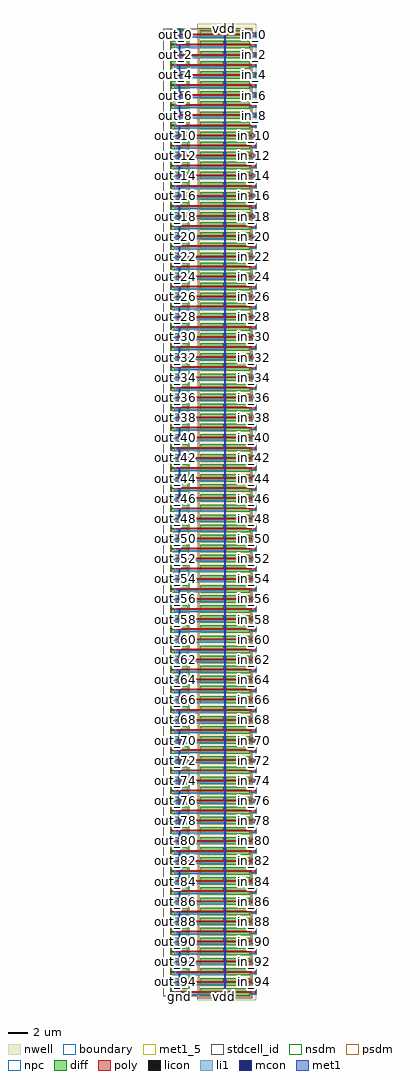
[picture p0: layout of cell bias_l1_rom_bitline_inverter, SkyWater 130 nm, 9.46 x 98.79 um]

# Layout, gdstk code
from math import pi, radians
import gdstk
lib = gdstk.Library(unit=1e-6, precision=1e-09)
def R(c, l, rs):  # rectangles x0, y0, x1, y1
    for r in rs: c.add(gdstk.rectangle(r[:2], r[2:], *l))
def A(c, l, x, y, w, h, nx, ny, dx, dy):  # array of equal rectangles
    R(c, l, [(x+i*dx, y+j*dy, x+i*dx+w, y+j*dy+h) for i in range(nx) for j in range(ny)])
nwell = (64, 20)
diff = (65, 20)
poly = (66, 20)
licon = (66, 44)
li1 = (67, 20)
mcon = (67, 44)
met1_5 = (68, 5)
met1 = (68, 20)
stdcell_id = (81, 4)
nsdm = (93, 44)
psdm = (94, 20)
npc = (95, 20)
boundary = (235, 4)

bias_l1_contact_10 = lib.new_cell('bias_l1_contact_10')
R(bias_l1_contact_10, nwell, [(-0.295,-0.255,0.545,0.585)])
R(bias_l1_contact_10, diff, [(0,0.02,0.25,0.31)])
R(bias_l1_contact_10, licon, [(0.04,0.08,0.21,0.25)])
R(bias_l1_contact_10, li1, [(0.04,0,0.21,0.33)])
R(bias_l1_contact_10, stdcell_id, [(-0.295,-0.255,0.545,0.585)])
R(bias_l1_contact_10, psdm, [(-0.125,-0.105,0.375,0.435)])
R(bias_l1_contact_10, boundary, [(-0.295,-0.255,0.545,0.585)])

bias_l1_pmos_m1_w5_000_s = lib.new_cell('bias_l1_pmos_m1_w5_000_sli_dli_da_p')
R(bias_l1_pmos_m1_w5_000_s, nwell, [(-0.27,-0.27,1.02,5.27)])
R(bias_l1_pmos_m1_w5_000_s, diff, [(0,0,0.75,5)])
R(bias_l1_pmos_m1_w5_000_s, poly, [(0.3,-0.13,0.45,5.13), (0.3,-0.13,0.45,5.13)])
R(bias_l1_pmos_m1_w5_000_s, li1, [(0.04,2.335,0.21,2.665), (0.54,2.335,0.71,2.665)])
R(bias_l1_pmos_m1_w5_000_s, stdcell_id, [(-0.27,-0.27,1.02,5.27)])
R(bias_l1_pmos_m1_w5_000_s, psdm, [(-0.125,-0.125,0.875,5.125)])
R(bias_l1_pmos_m1_w5_000_s, boundary, [(-0.27,-0.27,1.02,5.27)])
bias_l1_pmos_m1_w5_000_s.add(gdstk.Reference(bias_l1_contact_10, (0,2.335)))
bias_l1_pmos_m1_w5_000_s.add(gdstk.Reference(bias_l1_contact_10, (0.5,2.335)))
bias_l1_pmos_m1_w5_000_s.add(gdstk.Label('G', (0.375,2.5), layer=66, texttype=5))
bias_l1_pmos_m1_w5_000_s.add(gdstk.Label('S', (0.125,2.5), layer=67, texttype=5))
bias_l1_pmos_m1_w5_000_s.add(gdstk.Label('D', (0.625,2.5), layer=67, texttype=5))

bias_l1_contact_8 = lib.new_cell('bias_l1_contact_8')
R(bias_l1_contact_8, diff, [(0,0.02,0.25,0.31)])
R(bias_l1_contact_8, licon, [(0.04,0.08,0.21,0.25)])
R(bias_l1_contact_8, li1, [(0.04,0,0.21,0.33)])
R(bias_l1_contact_8, stdcell_id, [(-0.125,-0.105,0.375,0.435)])
R(bias_l1_contact_8, nsdm, [(-0.125,-0.105,0.375,0.435)])
R(bias_l1_contact_8, boundary, [(-0.125,-0.105,0.375,0.435)])

bias_l1_nmos_m1_w1_680_s = lib.new_cell('bias_l1_nmos_m1_w1_680_sli_dli_da_p')
R(bias_l1_nmos_m1_w1_680_s, diff, [(0,0,0.75,1.68)])
R(bias_l1_nmos_m1_w1_680_s, poly, [(0.3,-0.13,0.45,1.81), (0.3,-0.13,0.45,1.81)])
R(bias_l1_nmos_m1_w1_680_s, li1, [(0.04,0.675,0.21,1.005), (0.54,0.675,0.71,1.005)])
R(bias_l1_nmos_m1_w1_680_s, stdcell_id, [(-0.125,-0.13,0.875,1.81)])
R(bias_l1_nmos_m1_w1_680_s, nsdm, [(-0.125,-0.125,0.875,1.805)])
R(bias_l1_nmos_m1_w1_680_s, boundary, [(-0.125,-0.13,0.875,1.81)])
bias_l1_nmos_m1_w1_680_s.add(gdstk.Reference(bias_l1_contact_8, (0,0.675)))
bias_l1_nmos_m1_w1_680_s.add(gdstk.Reference(bias_l1_contact_8, (0.5,0.675)))
bias_l1_nmos_m1_w1_680_s.add(gdstk.Label('G', (0.375,0.84), layer=66, texttype=5))
bias_l1_nmos_m1_w1_680_s.add(gdstk.Label('S', (0.125,0.84), layer=67, texttype=5))
bias_l1_nmos_m1_w1_680_s.add(gdstk.Label('D', (0.625,0.84), layer=67, texttype=5))

bias_l1_contact_11 = lib.new_cell('bias_l1_contact_11')
R(bias_l1_contact_11, poly, [(0,0,0.33,0.33)])
R(bias_l1_contact_11, licon, [(0.08,0.08,0.25,0.25)])
R(bias_l1_contact_11, li1, [(0.08,0,0.25,0.33)])
R(bias_l1_contact_11, stdcell_id, [(-0.1,-0.1,0.43,0.43)])
R(bias_l1_contact_11, npc, [(-0.1,-0.1,0.43,0.43)])
R(bias_l1_contact_11, boundary, [(-0.1,-0.1,0.43,0.43)])

bias_l1_contact_12 = lib.new_cell('bias_l1_contact_12')
R(bias_l1_contact_12, li1, [(0.06,0,0.23,0.33)])
R(bias_l1_contact_12, mcon, [(0.06,0.08,0.23,0.25)])
R(bias_l1_contact_12, met1, [(0,0.05,0.29,0.28)])
R(bias_l1_contact_12, stdcell_id, [(0,0,0.29,0.33)])
R(bias_l1_contact_12, boundary, [(0,0,0.29,0.33)])

bias_l1_pinv_dec_3 = lib.new_cell('bias_l1_pinv_dec_3')
R(bias_l1_pinv_dec_3, nwell, [(3.46,-0.395,9.395,1.495)])
R(bias_l1_pinv_dec_3, poly, [(0.68,0.345,9.19,0.495), (2.62,0.345,3.6,0.495)])
R(bias_l1_pinv_dec_3, li1, [(1.485,0.085,6.23,0.255), (9.105,0.255,9.275,0.585)])
R(bias_l1_pinv_dec_3, met1_5, [(1.58,0,1.72,1.02), (6.16,0,6.3,1.02)])
R(bias_l1_pinv_dec_3, met1, [(1.58,0,1.72,1.02), (6.16,0,6.3,1.02)])
R(bias_l1_pinv_dec_3, stdcell_id, [(0,0,8.91,1.02), (0,0,8.91,1.02)])
R(bias_l1_pinv_dec_3, nsdm, [(0.685,0,2.615,0.795)])
R(bias_l1_pinv_dec_3, psdm, [(3.605,0,8.855,0.795)])
R(bias_l1_pinv_dec_3, boundary, [(0,0,8.91,1.02), (0,0,8.91,1.02)])
bias_l1_pinv_dec_3.add(gdstk.Reference(bias_l1_pmos_m1_w5_000_s, (3.73,0.795), rotation=3*pi/2))
bias_l1_pinv_dec_3.add(gdstk.Reference(bias_l1_nmos_m1_w1_680_s, (0.81,0.795), rotation=3*pi/2))
bias_l1_pinv_dec_3.add(gdstk.Reference(bias_l1_contact_11, (9.025,0.255)))
bias_l1_pinv_dec_3.add(gdstk.Reference(bias_l1_contact_12, (1.505,0.505)))
bias_l1_pinv_dec_3.add(gdstk.Reference(bias_l1_contact_12, (6.085,0.505)))
bias_l1_pinv_dec_3.add(gdstk.Label('A', (9.19,0.42), layer=67, texttype=5))
bias_l1_pinv_dec_3.add(gdstk.Label('Z', (3.858,0.17), layer=67, texttype=5))
bias_l1_pinv_dec_3.add(gdstk.Label('gnd', (1.65,0.51), layer=68, texttype=5))
bias_l1_pinv_dec_3.add(gdstk.Label('vdd', (6.23,0.51), layer=68, texttype=5))

bias_l1_rom_bitline_inve = lib.new_cell('bias_l1_rom_bitline_inverter')
A(bias_l1_rom_bitline_inve, li1, 1.13, 0.085, 0.355, 0.17, 1, 96, 0, 1.02)
A(bias_l1_rom_bitline_inve, li1, 1.13, 0.17, 0.17, 0.335, 1, 96, 0, 1.02)
A(bias_l1_rom_bitline_inve, li1, 9.105, 0.255, 0.17, 0.33, 1, 96, 0, 1.02)
A(bias_l1_rom_bitline_inve, li1, 1.13, 0.335, 0.17, 0.17, 1, 96, 0, 1.02)
R(bias_l1_rom_bitline_inve, met1_5, [(1.58,-0.07,1.72,0.07), (6.16,-0.07,6.3,0.07), (1.58,97.85,1.72,97.99), (6.16,97.85,6.3,97.99)])
A(bias_l1_rom_bitline_inve, met1, 1.58, 0.44, 0.14, 0.14, 1, 96, 0, 1.02)
A(bias_l1_rom_bitline_inve, met1, 6.16, 0.44, 0.14, 0.14, 1, 96, 0, 1.02)
R(bias_l1_rom_bitline_inve, met1, [(1.58,-0.07,1.72,0.07), (1.58,-0.07,1.72,97.99), (6.16,-0.07,6.3,0.07), (6.16,-0.07,6.3,97.99), (1.58,97.85,1.72,97.99), (6.16,97.85,6.3,97.99)])
R(bias_l1_rom_bitline_inve, stdcell_id, [(0,0,8.91,97.92)])
R(bias_l1_rom_bitline_inve, boundary, [(0,0,8.91,97.92)])
bias_l1_rom_bitline_inve.add(gdstk.Reference(bias_l1_pinv_dec_3, (0,0)))
bias_l1_rom_bitline_inve.add(gdstk.Reference(bias_l1_pinv_dec_3, (0,1.02)))
bias_l1_rom_bitline_inve.add(gdstk.Reference(bias_l1_pinv_dec_3, (0,2.04)))
bias_l1_rom_bitline_inve.add(gdstk.Reference(bias_l1_pinv_dec_3, (0,3.06)))
bias_l1_rom_bitline_inve.add(gdstk.Reference(bias_l1_pinv_dec_3, (0,4.08)))
bias_l1_rom_bitline_inve.add(gdstk.Reference(bias_l1_pinv_dec_3, (0,5.1)))
bias_l1_rom_bitline_inve.add(gdstk.Reference(bias_l1_pinv_dec_3, (0,6.12)))
bias_l1_rom_bitline_inve.add(gdstk.Reference(bias_l1_pinv_dec_3, (0,7.14)))
bias_l1_rom_bitline_inve.add(gdstk.Reference(bias_l1_pinv_dec_3, (0,8.16)))
bias_l1_rom_bitline_inve.add(gdstk.Reference(bias_l1_pinv_dec_3, (0,9.18)))
bias_l1_rom_bitline_inve.add(gdstk.Reference(bias_l1_pinv_dec_3, (0,10.2)))
bias_l1_rom_bitline_inve.add(gdstk.Reference(bias_l1_pinv_dec_3, (0,11.22)))
bias_l1_rom_bitline_inve.add(gdstk.Reference(bias_l1_pinv_dec_3, (0,12.24)))
bias_l1_rom_bitline_inve.add(gdstk.Reference(bias_l1_pinv_dec_3, (0,13.26)))
bias_l1_rom_bitline_inve.add(gdstk.Reference(bias_l1_pinv_dec_3, (0,14.28)))
bias_l1_rom_bitline_inve.add(gdstk.Reference(bias_l1_pinv_dec_3, (0,15.3)))
bias_l1_rom_bitline_inve.add(gdstk.Reference(bias_l1_pinv_dec_3, (0,16.32)))
bias_l1_rom_bitline_inve.add(gdstk.Reference(bias_l1_pinv_dec_3, (0,17.34)))
bias_l1_rom_bitline_inve.add(gdstk.Reference(bias_l1_pinv_dec_3, (0,18.36)))
bias_l1_rom_bitline_inve.add(gdstk.Reference(bias_l1_pinv_dec_3, (0,19.38)))
bias_l1_rom_bitline_inve.add(gdstk.Reference(bias_l1_pinv_dec_3, (0,20.4)))
bias_l1_rom_bitline_inve.add(gdstk.Reference(bias_l1_pinv_dec_3, (0,21.42)))
bias_l1_rom_bitline_inve.add(gdstk.Reference(bias_l1_pinv_dec_3, (0,22.44)))
bias_l1_rom_bitline_inve.add(gdstk.Reference(bias_l1_pinv_dec_3, (0,23.46)))
bias_l1_rom_bitline_inve.add(gdstk.Reference(bias_l1_pinv_dec_3, (0,24.48)))
bias_l1_rom_bitline_inve.add(gdstk.Reference(bias_l1_pinv_dec_3, (0,25.5)))
bias_l1_rom_bitline_inve.add(gdstk.Reference(bias_l1_pinv_dec_3, (0,26.52)))
bias_l1_rom_bitline_inve.add(gdstk.Reference(bias_l1_pinv_dec_3, (0,27.54)))
bias_l1_rom_bitline_inve.add(gdstk.Reference(bias_l1_pinv_dec_3, (0,28.56)))
bias_l1_rom_bitline_inve.add(gdstk.Reference(bias_l1_pinv_dec_3, (0,29.58)))
bias_l1_rom_bitline_inve.add(gdstk.Reference(bias_l1_pinv_dec_3, (0,30.6)))
bias_l1_rom_bitline_inve.add(gdstk.Reference(bias_l1_pinv_dec_3, (0,31.62)))
bias_l1_rom_bitline_inve.add(gdstk.Reference(bias_l1_pinv_dec_3, (0,32.64)))
bias_l1_rom_bitline_inve.add(gdstk.Reference(bias_l1_pinv_dec_3, (0,33.66)))
bias_l1_rom_bitline_inve.add(gdstk.Reference(bias_l1_pinv_dec_3, (0,34.68)))
bias_l1_rom_bitline_inve.add(gdstk.Reference(bias_l1_pinv_dec_3, (0,35.7)))
bias_l1_rom_bitline_inve.add(gdstk.Reference(bias_l1_pinv_dec_3, (0,36.72)))
bias_l1_rom_bitline_inve.add(gdstk.Reference(bias_l1_pinv_dec_3, (0,37.74)))
bias_l1_rom_bitline_inve.add(gdstk.Reference(bias_l1_pinv_dec_3, (0,38.76)))
bias_l1_rom_bitline_inve.add(gdstk.Reference(bias_l1_pinv_dec_3, (0,39.78)))
bias_l1_rom_bitline_inve.add(gdstk.Reference(bias_l1_pinv_dec_3, (0,40.8)))
bias_l1_rom_bitline_inve.add(gdstk.Reference(bias_l1_pinv_dec_3, (0,41.82)))
bias_l1_rom_bitline_inve.add(gdstk.Reference(bias_l1_pinv_dec_3, (0,42.84)))
bias_l1_rom_bitline_inve.add(gdstk.Reference(bias_l1_pinv_dec_3, (0,43.86)))
bias_l1_rom_bitline_inve.add(gdstk.Reference(bias_l1_pinv_dec_3, (0,44.88)))
bias_l1_rom_bitline_inve.add(gdstk.Reference(bias_l1_pinv_dec_3, (0,45.9)))
bias_l1_rom_bitline_inve.add(gdstk.Reference(bias_l1_pinv_dec_3, (0,46.92)))
bias_l1_rom_bitline_inve.add(gdstk.Reference(bias_l1_pinv_dec_3, (0,47.94)))
bias_l1_rom_bitline_inve.add(gdstk.Reference(bias_l1_pinv_dec_3, (0,48.96)))
bias_l1_rom_bitline_inve.add(gdstk.Reference(bias_l1_pinv_dec_3, (0,49.98)))
bias_l1_rom_bitline_inve.add(gdstk.Reference(bias_l1_pinv_dec_3, (0,51)))
bias_l1_rom_bitline_inve.add(gdstk.Reference(bias_l1_pinv_dec_3, (0,52.02)))
bias_l1_rom_bitline_inve.add(gdstk.Reference(bias_l1_pinv_dec_3, (0,53.04)))
bias_l1_rom_bitline_inve.add(gdstk.Reference(bias_l1_pinv_dec_3, (0,54.06)))
bias_l1_rom_bitline_inve.add(gdstk.Reference(bias_l1_pinv_dec_3, (0,55.08)))
bias_l1_rom_bitline_inve.add(gdstk.Reference(bias_l1_pinv_dec_3, (0,56.1)))
bias_l1_rom_bitline_inve.add(gdstk.Reference(bias_l1_pinv_dec_3, (0,57.12)))
bias_l1_rom_bitline_inve.add(gdstk.Reference(bias_l1_pinv_dec_3, (0,58.14)))
bias_l1_rom_bitline_inve.add(gdstk.Reference(bias_l1_pinv_dec_3, (0,59.16)))
bias_l1_rom_bitline_inve.add(gdstk.Reference(bias_l1_pinv_dec_3, (0,60.18)))
bias_l1_rom_bitline_inve.add(gdstk.Reference(bias_l1_pinv_dec_3, (0,61.2)))
bias_l1_rom_bitline_inve.add(gdstk.Reference(bias_l1_pinv_dec_3, (0,62.22)))
bias_l1_rom_bitline_inve.add(gdstk.Reference(bias_l1_pinv_dec_3, (0,63.24)))
bias_l1_rom_bitline_inve.add(gdstk.Reference(bias_l1_pinv_dec_3, (0,64.26)))
bias_l1_rom_bitline_inve.add(gdstk.Reference(bias_l1_pinv_dec_3, (0,65.28)))
bias_l1_rom_bitline_inve.add(gdstk.Reference(bias_l1_pinv_dec_3, (0,66.3)))
bias_l1_rom_bitline_inve.add(gdstk.Reference(bias_l1_pinv_dec_3, (0,67.32)))
bias_l1_rom_bitline_inve.add(gdstk.Reference(bias_l1_pinv_dec_3, (0,68.34)))
bias_l1_rom_bitline_inve.add(gdstk.Reference(bias_l1_pinv_dec_3, (0,69.36)))
bias_l1_rom_bitline_inve.add(gdstk.Reference(bias_l1_pinv_dec_3, (0,70.38)))
bias_l1_rom_bitline_inve.add(gdstk.Reference(bias_l1_pinv_dec_3, (0,71.4)))
bias_l1_rom_bitline_inve.add(gdstk.Reference(bias_l1_pinv_dec_3, (0,72.42)))
bias_l1_rom_bitline_inve.add(gdstk.Reference(bias_l1_pinv_dec_3, (0,73.44)))
bias_l1_rom_bitline_inve.add(gdstk.Reference(bias_l1_pinv_dec_3, (0,74.46)))
bias_l1_rom_bitline_inve.add(gdstk.Reference(bias_l1_pinv_dec_3, (0,75.48)))
bias_l1_rom_bitline_inve.add(gdstk.Reference(bias_l1_pinv_dec_3, (0,76.5)))
bias_l1_rom_bitline_inve.add(gdstk.Reference(bias_l1_pinv_dec_3, (0,77.52)))
bias_l1_rom_bitline_inve.add(gdstk.Reference(bias_l1_pinv_dec_3, (0,78.54)))
bias_l1_rom_bitline_inve.add(gdstk.Reference(bias_l1_pinv_dec_3, (0,79.56)))
bias_l1_rom_bitline_inve.add(gdstk.Reference(bias_l1_pinv_dec_3, (0,80.58)))
bias_l1_rom_bitline_inve.add(gdstk.Reference(bias_l1_pinv_dec_3, (0,81.6)))
bias_l1_rom_bitline_inve.add(gdstk.Reference(bias_l1_pinv_dec_3, (0,82.62)))
bias_l1_rom_bitline_inve.add(gdstk.Reference(bias_l1_pinv_dec_3, (0,83.64)))
bias_l1_rom_bitline_inve.add(gdstk.Reference(bias_l1_pinv_dec_3, (0,84.66)))
bias_l1_rom_bitline_inve.add(gdstk.Reference(bias_l1_pinv_dec_3, (0,85.68)))
bias_l1_rom_bitline_inve.add(gdstk.Reference(bias_l1_pinv_dec_3, (0,86.7)))
bias_l1_rom_bitline_inve.add(gdstk.Reference(bias_l1_pinv_dec_3, (0,87.72)))
bias_l1_rom_bitline_inve.add(gdstk.Reference(bias_l1_pinv_dec_3, (0,88.74)))
bias_l1_rom_bitline_inve.add(gdstk.Reference(bias_l1_pinv_dec_3, (0,89.76)))
bias_l1_rom_bitline_inve.add(gdstk.Reference(bias_l1_pinv_dec_3, (0,90.78)))
bias_l1_rom_bitline_inve.add(gdstk.Reference(bias_l1_pinv_dec_3, (0,91.8)))
bias_l1_rom_bitline_inve.add(gdstk.Reference(bias_l1_pinv_dec_3, (0,92.82)))
bias_l1_rom_bitline_inve.add(gdstk.Reference(bias_l1_pinv_dec_3, (0,93.84)))
bias_l1_rom_bitline_inve.add(gdstk.Reference(bias_l1_pinv_dec_3, (0,94.86)))
bias_l1_rom_bitline_inve.add(gdstk.Reference(bias_l1_pinv_dec_3, (0,95.88)))
bias_l1_rom_bitline_inve.add(gdstk.Reference(bias_l1_pinv_dec_3, (0,96.9)))
bias_l1_rom_bitline_inve.add(gdstk.Label('in_0', (9.19,97.32), layer=67, texttype=5))
bias_l1_rom_bitline_inve.add(gdstk.Label('out_0', (1.215,97.32), layer=67, texttype=5))
bias_l1_rom_bitline_inve.add(gdstk.Label('in_1', (9.19,96.3), layer=67, texttype=5))
bias_l1_rom_bitline_inve.add(gdstk.Label('out_1', (1.215,96.3), layer=67, texttype=5))
bias_l1_rom_bitline_inve.add(gdstk.Label('in_2', (9.19,95.28), layer=67, texttype=5))
bias_l1_rom_bitline_inve.add(gdstk.Label('out_2', (1.215,95.28), layer=67, texttype=5))
bias_l1_rom_bitline_inve.add(gdstk.Label('in_3', (9.19,94.26), layer=67, texttype=5))
bias_l1_rom_bitline_inve.add(gdstk.Label('out_3', (1.215,94.26), layer=67, texttype=5))
bias_l1_rom_bitline_inve.add(gdstk.Label('in_4', (9.19,93.24), layer=67, texttype=5))
bias_l1_rom_bitline_inve.add(gdstk.Label('out_4', (1.215,93.24), layer=67, texttype=5))
bias_l1_rom_bitline_inve.add(gdstk.Label('in_5', (9.19,92.22), layer=67, texttype=5))
bias_l1_rom_bitline_inve.add(gdstk.Label('out_5', (1.215,92.22), layer=67, texttype=5))
bias_l1_rom_bitline_inve.add(gdstk.Label('in_6', (9.19,91.2), layer=67, texttype=5))
bias_l1_rom_bitline_inve.add(gdstk.Label('out_6', (1.215,91.2), layer=67, texttype=5))
bias_l1_rom_bitline_inve.add(gdstk.Label('in_7', (9.19,90.18), layer=67, texttype=5))
bias_l1_rom_bitline_inve.add(gdstk.Label('out_7', (1.215,90.18), layer=67, texttype=5))
bias_l1_rom_bitline_inve.add(gdstk.Label('in_8', (9.19,89.16), layer=67, texttype=5))
bias_l1_rom_bitline_inve.add(gdstk.Label('out_8', (1.215,89.16), layer=67, texttype=5))
bias_l1_rom_bitline_inve.add(gdstk.Label('in_9', (9.19,88.14), layer=67, texttype=5))
bias_l1_rom_bitline_inve.add(gdstk.Label('out_9', (1.215,88.14), layer=67, texttype=5))
bias_l1_rom_bitline_inve.add(gdstk.Label('in_10', (9.19,87.12), layer=67, texttype=5))
bias_l1_rom_bitline_inve.add(gdstk.Label('out_10', (1.215,87.12), layer=67, texttype=5))
bias_l1_rom_bitline_inve.add(gdstk.Label('in_11', (9.19,86.1), layer=67, texttype=5))
bias_l1_rom_bitline_inve.add(gdstk.Label('out_11', (1.215,86.1), layer=67, texttype=5))
bias_l1_rom_bitline_inve.add(gdstk.Label('in_12', (9.19,85.08), layer=67, texttype=5))
bias_l1_rom_bitline_inve.add(gdstk.Label('out_12', (1.215,85.08), layer=67, texttype=5))
bias_l1_rom_bitline_inve.add(gdstk.Label('in_13', (9.19,84.06), layer=67, texttype=5))
bias_l1_rom_bitline_inve.add(gdstk.Label('out_13', (1.215,84.06), layer=67, texttype=5))
bias_l1_rom_bitline_inve.add(gdstk.Label('in_14', (9.19,83.04), layer=67, texttype=5))
bias_l1_rom_bitline_inve.add(gdstk.Label('out_14', (1.215,83.04), layer=67, texttype=5))
bias_l1_rom_bitline_inve.add(gdstk.Label('in_15', (9.19,82.02), layer=67, texttype=5))
bias_l1_rom_bitline_inve.add(gdstk.Label('out_15', (1.215,82.02), layer=67, texttype=5))
bias_l1_rom_bitline_inve.add(gdstk.Label('in_16', (9.19,81), layer=67, texttype=5))
bias_l1_rom_bitline_inve.add(gdstk.Label('out_16', (1.215,81), layer=67, texttype=5))
bias_l1_rom_bitline_inve.add(gdstk.Label('in_17', (9.19,79.98), layer=67, texttype=5))
bias_l1_rom_bitline_inve.add(gdstk.Label('out_17', (1.215,79.98), layer=67, texttype=5))
bias_l1_rom_bitline_inve.add(gdstk.Label('in_18', (9.19,78.96), layer=67, texttype=5))
bias_l1_rom_bitline_inve.add(gdstk.Label('out_18', (1.215,78.96), layer=67, texttype=5))
bias_l1_rom_bitline_inve.add(gdstk.Label('in_19', (9.19,77.94), layer=67, texttype=5))
bias_l1_rom_bitline_inve.add(gdstk.Label('out_19', (1.215,77.94), layer=67, texttype=5))
bias_l1_rom_bitline_inve.add(gdstk.Label('in_20', (9.19,76.92), layer=67, texttype=5))
bias_l1_rom_bitline_inve.add(gdstk.Label('out_20', (1.215,76.92), layer=67, texttype=5))
bias_l1_rom_bitline_inve.add(gdstk.Label('in_21', (9.19,75.9), layer=67, texttype=5))
bias_l1_rom_bitline_inve.add(gdstk.Label('out_21', (1.215,75.9), layer=67, texttype=5))
bias_l1_rom_bitline_inve.add(gdstk.Label('in_22', (9.19,74.88), layer=67, texttype=5))
bias_l1_rom_bitline_inve.add(gdstk.Label('out_22', (1.215,74.88), layer=67, texttype=5))
bias_l1_rom_bitline_inve.add(gdstk.Label('in_23', (9.19,73.86), layer=67, texttype=5))
bias_l1_rom_bitline_inve.add(gdstk.Label('out_23', (1.215,73.86), layer=67, texttype=5))
bias_l1_rom_bitline_inve.add(gdstk.Label('in_24', (9.19,72.84), layer=67, texttype=5))
bias_l1_rom_bitline_inve.add(gdstk.Label('out_24', (1.215,72.84), layer=67, texttype=5))
bias_l1_rom_bitline_inve.add(gdstk.Label('in_25', (9.19,71.82), layer=67, texttype=5))
bias_l1_rom_bitline_inve.add(gdstk.Label('out_25', (1.215,71.82), layer=67, texttype=5))
bias_l1_rom_bitline_inve.add(gdstk.Label('in_26', (9.19,70.8), layer=67, texttype=5))
bias_l1_rom_bitline_inve.add(gdstk.Label('out_26', (1.215,70.8), layer=67, texttype=5))
bias_l1_rom_bitline_inve.add(gdstk.Label('in_27', (9.19,69.78), layer=67, texttype=5))
bias_l1_rom_bitline_inve.add(gdstk.Label('out_27', (1.215,69.78), layer=67, texttype=5))
bias_l1_rom_bitline_inve.add(gdstk.Label('in_28', (9.19,68.76), layer=67, texttype=5))
bias_l1_rom_bitline_inve.add(gdstk.Label('out_28', (1.215,68.76), layer=67, texttype=5))
bias_l1_rom_bitline_inve.add(gdstk.Label('in_29', (9.19,67.74), layer=67, texttype=5))
bias_l1_rom_bitline_inve.add(gdstk.Label('out_29', (1.215,67.74), layer=67, texttype=5))
bias_l1_rom_bitline_inve.add(gdstk.Label('in_30', (9.19,66.72), layer=67, texttype=5))
bias_l1_rom_bitline_inve.add(gdstk.Label('out_30', (1.215,66.72), layer=67, texttype=5))
bias_l1_rom_bitline_inve.add(gdstk.Label('in_31', (9.19,65.7), layer=67, texttype=5))
bias_l1_rom_bitline_inve.add(gdstk.Label('out_31', (1.215,65.7), layer=67, texttype=5))
bias_l1_rom_bitline_inve.add(gdstk.Label('in_32', (9.19,64.68), layer=67, texttype=5))
bias_l1_rom_bitline_inve.add(gdstk.Label('out_32', (1.215,64.68), layer=67, texttype=5))
bias_l1_rom_bitline_inve.add(gdstk.Label('in_33', (9.19,63.66), layer=67, texttype=5))
bias_l1_rom_bitline_inve.add(gdstk.Label('out_33', (1.215,63.66), layer=67, texttype=5))
bias_l1_rom_bitline_inve.add(gdstk.Label('in_34', (9.19,62.64), layer=67, texttype=5))
bias_l1_rom_bitline_inve.add(gdstk.Label('out_34', (1.215,62.64), layer=67, texttype=5))
bias_l1_rom_bitline_inve.add(gdstk.Label('in_35', (9.19,61.62), layer=67, texttype=5))
bias_l1_rom_bitline_inve.add(gdstk.Label('out_35', (1.215,61.62), layer=67, texttype=5))
bias_l1_rom_bitline_inve.add(gdstk.Label('in_36', (9.19,60.6), layer=67, texttype=5))
bias_l1_rom_bitline_inve.add(gdstk.Label('out_36', (1.215,60.6), layer=67, texttype=5))
bias_l1_rom_bitline_inve.add(gdstk.Label('in_37', (9.19,59.58), layer=67, texttype=5))
bias_l1_rom_bitline_inve.add(gdstk.Label('out_37', (1.215,59.58), layer=67, texttype=5))
bias_l1_rom_bitline_inve.add(gdstk.Label('in_38', (9.19,58.56), layer=67, texttype=5))
bias_l1_rom_bitline_inve.add(gdstk.Label('out_38', (1.215,58.56), layer=67, texttype=5))
bias_l1_rom_bitline_inve.add(gdstk.Label('in_39', (9.19,57.54), layer=67, texttype=5))
bias_l1_rom_bitline_inve.add(gdstk.Label('out_39', (1.215,57.54), layer=67, texttype=5))
bias_l1_rom_bitline_inve.add(gdstk.Label('in_40', (9.19,56.52), layer=67, texttype=5))
bias_l1_rom_bitline_inve.add(gdstk.Label('out_40', (1.215,56.52), layer=67, texttype=5))
bias_l1_rom_bitline_inve.add(gdstk.Label('in_41', (9.19,55.5), layer=67, texttype=5))
bias_l1_rom_bitline_inve.add(gdstk.Label('out_41', (1.215,55.5), layer=67, texttype=5))
bias_l1_rom_bitline_inve.add(gdstk.Label('in_42', (9.19,54.48), layer=67, texttype=5))
bias_l1_rom_bitline_inve.add(gdstk.Label('out_42', (1.215,54.48), layer=67, texttype=5))
bias_l1_rom_bitline_inve.add(gdstk.Label('in_43', (9.19,53.46), layer=67, texttype=5))
bias_l1_rom_bitline_inve.add(gdstk.Label('out_43', (1.215,53.46), layer=67, texttype=5))
bias_l1_rom_bitline_inve.add(gdstk.Label('in_44', (9.19,52.44), layer=67, texttype=5))
bias_l1_rom_bitline_inve.add(gdstk.Label('out_44', (1.215,52.44), layer=67, texttype=5))
bias_l1_rom_bitline_inve.add(gdstk.Label('in_45', (9.19,51.42), layer=67, texttype=5))
bias_l1_rom_bitline_inve.add(gdstk.Label('out_45', (1.215,51.42), layer=67, texttype=5))
bias_l1_rom_bitline_inve.add(gdstk.Label('in_46', (9.19,50.4), layer=67, texttype=5))
bias_l1_rom_bitline_inve.add(gdstk.Label('out_46', (1.215,50.4), layer=67, texttype=5))
bias_l1_rom_bitline_inve.add(gdstk.Label('in_47', (9.19,49.38), layer=67, texttype=5))
bias_l1_rom_bitline_inve.add(gdstk.Label('out_47', (1.215,49.38), layer=67, texttype=5))
bias_l1_rom_bitline_inve.add(gdstk.Label('in_48', (9.19,48.36), layer=67, texttype=5))
bias_l1_rom_bitline_inve.add(gdstk.Label('out_48', (1.215,48.36), layer=67, texttype=5))
bias_l1_rom_bitline_inve.add(gdstk.Label('in_49', (9.19,47.34), layer=67, texttype=5))
bias_l1_rom_bitline_inve.add(gdstk.Label('out_49', (1.215,47.34), layer=67, texttype=5))
bias_l1_rom_bitline_inve.add(gdstk.Label('in_50', (9.19,46.32), layer=67, texttype=5))
bias_l1_rom_bitline_inve.add(gdstk.Label('out_50', (1.215,46.32), layer=67, texttype=5))
bias_l1_rom_bitline_inve.add(gdstk.Label('in_51', (9.19,45.3), layer=67, texttype=5))
bias_l1_rom_bitline_inve.add(gdstk.Label('out_51', (1.215,45.3), layer=67, texttype=5))
bias_l1_rom_bitline_inve.add(gdstk.Label('in_52', (9.19,44.28), layer=67, texttype=5))
bias_l1_rom_bitline_inve.add(gdstk.Label('out_52', (1.215,44.28), layer=67, texttype=5))
bias_l1_rom_bitline_inve.add(gdstk.Label('in_53', (9.19,43.26), layer=67, texttype=5))
bias_l1_rom_bitline_inve.add(gdstk.Label('out_53', (1.215,43.26), layer=67, texttype=5))
bias_l1_rom_bitline_inve.add(gdstk.Label('in_54', (9.19,42.24), layer=67, texttype=5))
bias_l1_rom_bitline_inve.add(gdstk.Label('out_54', (1.215,42.24), layer=67, texttype=5))
bias_l1_rom_bitline_inve.add(gdstk.Label('in_55', (9.19,41.22), layer=67, texttype=5))
bias_l1_rom_bitline_inve.add(gdstk.Label('out_55', (1.215,41.22), layer=67, texttype=5))
bias_l1_rom_bitline_inve.add(gdstk.Label('in_56', (9.19,40.2), layer=67, texttype=5))
bias_l1_rom_bitline_inve.add(gdstk.Label('out_56', (1.215,40.2), layer=67, texttype=5))
bias_l1_rom_bitline_inve.add(gdstk.Label('in_57', (9.19,39.18), layer=67, texttype=5))
bias_l1_rom_bitline_inve.add(gdstk.Label('out_57', (1.215,39.18), layer=67, texttype=5))
bias_l1_rom_bitline_inve.add(gdstk.Label('in_58', (9.19,38.16), layer=67, texttype=5))
bias_l1_rom_bitline_inve.add(gdstk.Label('out_58', (1.215,38.16), layer=67, texttype=5))
bias_l1_rom_bitline_inve.add(gdstk.Label('in_59', (9.19,37.14), layer=67, texttype=5))
bias_l1_rom_bitline_inve.add(gdstk.Label('out_59', (1.215,37.14), layer=67, texttype=5))
bias_l1_rom_bitline_inve.add(gdstk.Label('in_60', (9.19,36.12), layer=67, texttype=5))
bias_l1_rom_bitline_inve.add(gdstk.Label('out_60', (1.215,36.12), layer=67, texttype=5))
bias_l1_rom_bitline_inve.add(gdstk.Label('in_61', (9.19,35.1), layer=67, texttype=5))
bias_l1_rom_bitline_inve.add(gdstk.Label('out_61', (1.215,35.1), layer=67, texttype=5))
bias_l1_rom_bitline_inve.add(gdstk.Label('in_62', (9.19,34.08), layer=67, texttype=5))
bias_l1_rom_bitline_inve.add(gdstk.Label('out_62', (1.215,34.08), layer=67, texttype=5))
bias_l1_rom_bitline_inve.add(gdstk.Label('in_63', (9.19,33.06), layer=67, texttype=5))
bias_l1_rom_bitline_inve.add(gdstk.Label('out_63', (1.215,33.06), layer=67, texttype=5))
bias_l1_rom_bitline_inve.add(gdstk.Label('in_64', (9.19,32.04), layer=67, texttype=5))
bias_l1_rom_bitline_inve.add(gdstk.Label('out_64', (1.215,32.04), layer=67, texttype=5))
bias_l1_rom_bitline_inve.add(gdstk.Label('in_65', (9.19,31.02), layer=67, texttype=5))
bias_l1_rom_bitline_inve.add(gdstk.Label('out_65', (1.215,31.02), layer=67, texttype=5))
bias_l1_rom_bitline_inve.add(gdstk.Label('in_66', (9.19,30), layer=67, texttype=5))
bias_l1_rom_bitline_inve.add(gdstk.Label('out_66', (1.215,30), layer=67, texttype=5))
bias_l1_rom_bitline_inve.add(gdstk.Label('in_67', (9.19,28.98), layer=67, texttype=5))
bias_l1_rom_bitline_inve.add(gdstk.Label('out_67', (1.215,28.98), layer=67, texttype=5))
bias_l1_rom_bitline_inve.add(gdstk.Label('in_68', (9.19,27.96), layer=67, texttype=5))
bias_l1_rom_bitline_inve.add(gdstk.Label('out_68', (1.215,27.96), layer=67, texttype=5))
bias_l1_rom_bitline_inve.add(gdstk.Label('in_69', (9.19,26.94), layer=67, texttype=5))
bias_l1_rom_bitline_inve.add(gdstk.Label('out_69', (1.215,26.94), layer=67, texttype=5))
bias_l1_rom_bitline_inve.add(gdstk.Label('in_70', (9.19,25.92), layer=67, texttype=5))
bias_l1_rom_bitline_inve.add(gdstk.Label('out_70', (1.215,25.92), layer=67, texttype=5))
bias_l1_rom_bitline_inve.add(gdstk.Label('in_71', (9.19,24.9), layer=67, texttype=5))
bias_l1_rom_bitline_inve.add(gdstk.Label('out_71', (1.215,24.9), layer=67, texttype=5))
bias_l1_rom_bitline_inve.add(gdstk.Label('in_72', (9.19,23.88), layer=67, texttype=5))
bias_l1_rom_bitline_inve.add(gdstk.Label('out_72', (1.215,23.88), layer=67, texttype=5))
bias_l1_rom_bitline_inve.add(gdstk.Label('in_73', (9.19,22.86), layer=67, texttype=5))
bias_l1_rom_bitline_inve.add(gdstk.Label('out_73', (1.215,22.86), layer=67, texttype=5))
bias_l1_rom_bitline_inve.add(gdstk.Label('in_74', (9.19,21.84), layer=67, texttype=5))
bias_l1_rom_bitline_inve.add(gdstk.Label('out_74', (1.215,21.84), layer=67, texttype=5))
bias_l1_rom_bitline_inve.add(gdstk.Label('in_75', (9.19,20.82), layer=67, texttype=5))
bias_l1_rom_bitline_inve.add(gdstk.Label('out_75', (1.215,20.82), layer=67, texttype=5))
bias_l1_rom_bitline_inve.add(gdstk.Label('in_76', (9.19,19.8), layer=67, texttype=5))
bias_l1_rom_bitline_inve.add(gdstk.Label('out_76', (1.215,19.8), layer=67, texttype=5))
bias_l1_rom_bitline_inve.add(gdstk.Label('in_77', (9.19,18.78), layer=67, texttype=5))
bias_l1_rom_bitline_inve.add(gdstk.Label('out_77', (1.215,18.78), layer=67, texttype=5))
bias_l1_rom_bitline_inve.add(gdstk.Label('in_78', (9.19,17.76), layer=67, texttype=5))
bias_l1_rom_bitline_inve.add(gdstk.Label('out_78', (1.215,17.76), layer=67, texttype=5))
bias_l1_rom_bitline_inve.add(gdstk.Label('in_79', (9.19,16.74), layer=67, texttype=5))
bias_l1_rom_bitline_inve.add(gdstk.Label('out_79', (1.215,16.74), layer=67, texttype=5))
bias_l1_rom_bitline_inve.add(gdstk.Label('in_80', (9.19,15.72), layer=67, texttype=5))
bias_l1_rom_bitline_inve.add(gdstk.Label('out_80', (1.215,15.72), layer=67, texttype=5))
bias_l1_rom_bitline_inve.add(gdstk.Label('in_81', (9.19,14.7), layer=67, texttype=5))
bias_l1_rom_bitline_inve.add(gdstk.Label('out_81', (1.215,14.7), layer=67, texttype=5))
bias_l1_rom_bitline_inve.add(gdstk.Label('in_82', (9.19,13.68), layer=67, texttype=5))
bias_l1_rom_bitline_inve.add(gdstk.Label('out_82', (1.215,13.68), layer=67, texttype=5))
bias_l1_rom_bitline_inve.add(gdstk.Label('in_83', (9.19,12.66), layer=67, texttype=5))
bias_l1_rom_bitline_inve.add(gdstk.Label('out_83', (1.215,12.66), layer=67, texttype=5))
bias_l1_rom_bitline_inve.add(gdstk.Label('in_84', (9.19,11.64), layer=67, texttype=5))
bias_l1_rom_bitline_inve.add(gdstk.Label('out_84', (1.215,11.64), layer=67, texttype=5))
bias_l1_rom_bitline_inve.add(gdstk.Label('in_85', (9.19,10.62), layer=67, texttype=5))
bias_l1_rom_bitline_inve.add(gdstk.Label('out_85', (1.215,10.62), layer=67, texttype=5))
bias_l1_rom_bitline_inve.add(gdstk.Label('in_86', (9.19,9.6), layer=67, texttype=5))
bias_l1_rom_bitline_inve.add(gdstk.Label('out_86', (1.215,9.6), layer=67, texttype=5))
bias_l1_rom_bitline_inve.add(gdstk.Label('in_87', (9.19,8.58), layer=67, texttype=5))
bias_l1_rom_bitline_inve.add(gdstk.Label('out_87', (1.215,8.58), layer=67, texttype=5))
bias_l1_rom_bitline_inve.add(gdstk.Label('in_88', (9.19,7.56), layer=67, texttype=5))
bias_l1_rom_bitline_inve.add(gdstk.Label('out_88', (1.215,7.56), layer=67, texttype=5))
bias_l1_rom_bitline_inve.add(gdstk.Label('in_89', (9.19,6.54), layer=67, texttype=5))
bias_l1_rom_bitline_inve.add(gdstk.Label('out_89', (1.215,6.54), layer=67, texttype=5))
bias_l1_rom_bitline_inve.add(gdstk.Label('in_90', (9.19,5.52), layer=67, texttype=5))
bias_l1_rom_bitline_inve.add(gdstk.Label('out_90', (1.215,5.52), layer=67, texttype=5))
bias_l1_rom_bitline_inve.add(gdstk.Label('in_91', (9.19,4.5), layer=67, texttype=5))
bias_l1_rom_bitline_inve.add(gdstk.Label('out_91', (1.215,4.5), layer=67, texttype=5))
bias_l1_rom_bitline_inve.add(gdstk.Label('in_92', (9.19,3.48), layer=67, texttype=5))
bias_l1_rom_bitline_inve.add(gdstk.Label('out_92', (1.215,3.48), layer=67, texttype=5))
bias_l1_rom_bitline_inve.add(gdstk.Label('in_93', (9.19,2.46), layer=67, texttype=5))
bias_l1_rom_bitline_inve.add(gdstk.Label('out_93', (1.215,2.46), layer=67, texttype=5))
bias_l1_rom_bitline_inve.add(gdstk.Label('in_94', (9.19,1.44), layer=67, texttype=5))
bias_l1_rom_bitline_inve.add(gdstk.Label('out_94', (1.215,1.44), layer=67, texttype=5))
bias_l1_rom_bitline_inve.add(gdstk.Label('in_95', (9.19,0.42), layer=67, texttype=5))
bias_l1_rom_bitline_inve.add(gdstk.Label('out_95', (1.215,0.42), layer=67, texttype=5))
bias_l1_rom_bitline_inve.add(gdstk.Label('gnd', (1.65,97.92), layer=68, texttype=5))
bias_l1_rom_bitline_inve.add(gdstk.Label('gnd', (1.65,0), layer=68, texttype=5))
bias_l1_rom_bitline_inve.add(gdstk.Label('vdd', (6.23,0), layer=68, texttype=5))
bias_l1_rom_bitline_inve.add(gdstk.Label('vdd', (6.23,97.92), layer=68, texttype=5))

lib.write_gds('bias_l1_rom_bitline_inverter.gds')
